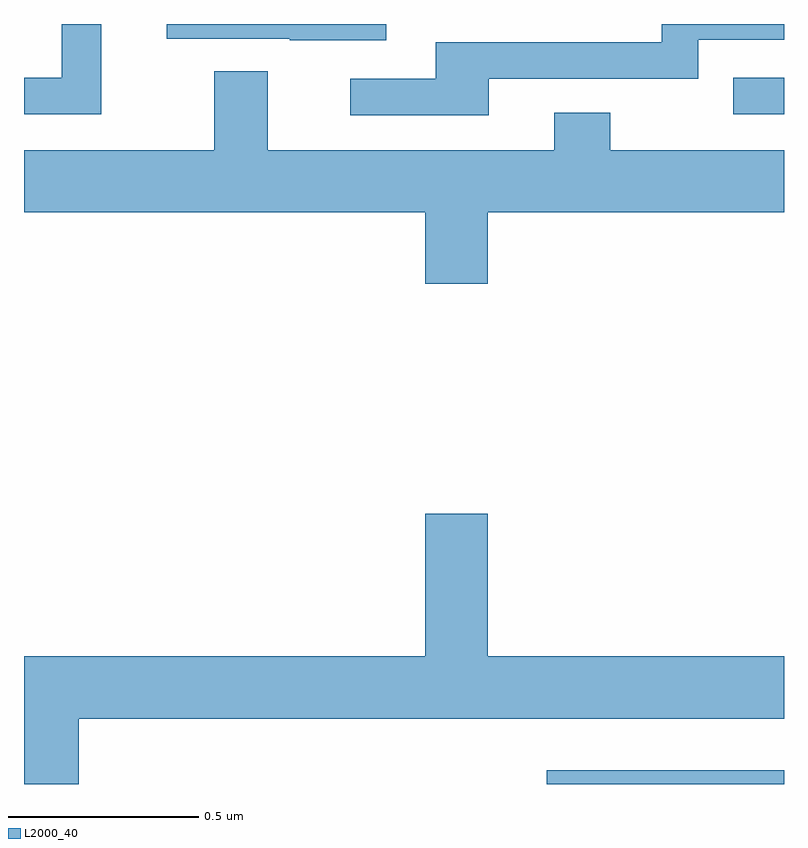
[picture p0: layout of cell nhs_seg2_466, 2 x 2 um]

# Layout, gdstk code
import gdstk
lib = gdstk.Library(unit=1e-6, precision=1e-09)
def R(c, l, rs):  # rectangles x0, y0, x1, y1
    for r in rs: c.add(gdstk.rectangle(r[:2], r[2:], *l))
def P(c, l, *ps):  # polygons
    for p in ps: c.add(gdstk.Polygon(p, *l))
L2000_40 = (2000, 40)

nhs_seg2_466 = lib.new_cell('nhs_seg2_466')
R(nhs_seg2_466, L2000_40, [(117.375,644.8,118,644.836), (117.867,646.563,118,646.659)])
P(nhs_seg2_466, L2000_40, [(117.223,646.656),(117.774,646.656),(117.774,646.758),(118,646.758),(118,646.8),(117.678,646.8),(117.678,646.752),(117.083,646.752),(117.083,646.656),(116.859,646.656),(116.859,646.56),(117.223,646.56)],
  [(116.203,646.8),(116.099,646.8),(116.099,646.659),(116,646.659),(116,646.563),(116.203,646.563)],
  [(116.953,646.8),(116.375,646.8),(116.375,646.761),(116.699,646.761),(116.699,646.757),(116.953,646.757)],
  [(117.22,646.304),(118,646.304),(118,646.468),(117.543,646.468),(117.543,646.567),(117.395,646.567),(117.395,646.468),(116.641,646.468),(116.641,646.676),(116.501,646.676),(116.501,646.468),(116,646.468),(116,646.304),(117.056,646.304),(117.056,646.116),(117.22,646.116)],
  [(116.144,644.972),(118,644.972),(118,645.136),(117.22,645.136),(117.22,645.511),(117.056,645.511),(117.056,645.136),(116,645.136),(116,644.8),(116.144,644.8)])

lib.write_gds('nhs_seg2_466.gds')
